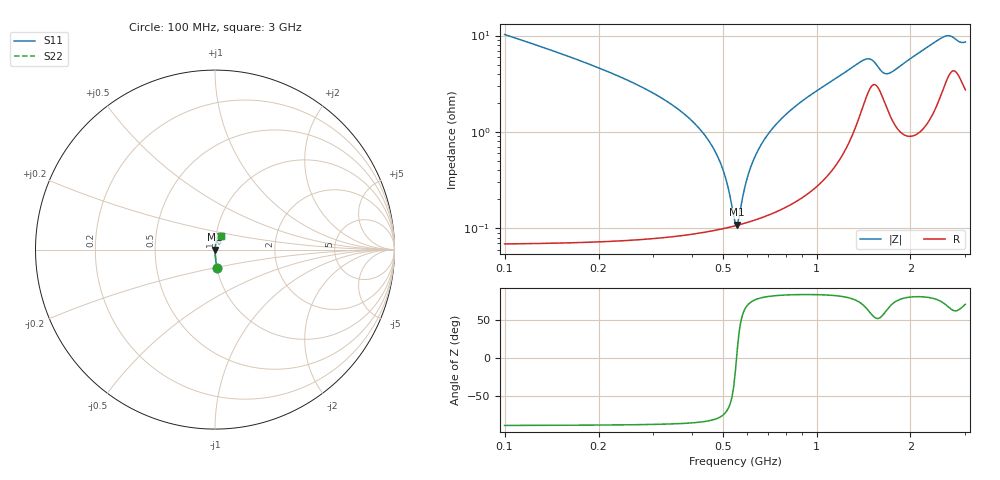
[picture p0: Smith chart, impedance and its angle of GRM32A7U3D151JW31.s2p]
!Murata Part Number: GRM32A7U3D151JW31
!These Parameters are Measured in Series Mode Connection
!Data Generated on Mar 30, 2021
!  o--ll--o
!Port1  Port2
!  o------o
!Operation Temp=25[degC], DC Bias Voltage=0[V]
!Freq. Start=100[MHz] Stop=3[GHz] 401[Steps]
# Hz S RI R 50
!Freq.(Hz) S11(Real) S11(Imag) S21(Real) S21(Imag) S12(Real) S12(Imag) S22(Real) S22(Imag)
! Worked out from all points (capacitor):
!   401 points, 100 MHz to 3 GHz, reference 50 ohm
!   read as one part in series: C = 150 pF near 114.5 MHz
!   lowest |Z| = 109 mohm at 556.8 MHz (marker M1)
!   series resonance near 554 MHz, so ESL is about 550 pH
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1e8  0.0111 -0.1015  0.9889 0.1015  0.9889 0.1015  0.0111 -0.1015
1.87e8  0.00324 -0.0502  0.9968 0.0502  0.9968 0.0502  0.00324 -0.0502
3.6825e8  0.0011 -0.0162  0.9989 0.0162  0.9989 0.0162  0.0011 -0.0162
4.335e8  0.000994 -0.00961  0.999 0.00961  0.999 0.00961  0.000994 -0.00961
4.915e8  0.000996 -0.00468  0.999 0.00468  0.999 0.00468  0.000996 -0.00468
5.1325e8  0.00101 -0.00299  0.999 0.00299  0.999 0.00299  0.00101 -0.00299
5.4225e8  0.00105 -0.00084  0.999 0.00084  0.999 0.00084  0.00105 -0.00084
5.5675e8  0.00107 0.000193  0.9989 -0.000193  0.9989 -0.000193  0.00107 0.000193
5.64e8  0.00108 0.000701  0.9989 -0.000701  0.9989 -0.000701  0.00108 0.000701
5.8575e8  0.00112 0.00219  0.9989 -0.00219  0.9989 -0.00219  0.00112 0.00219
6.075e8  0.00117 0.00364  0.9988 -0.00364  0.9988 -0.00364  0.00117 0.00364
6.4375e8  0.00127 0.00596  0.9987 -0.00596  0.9987 -0.00596  0.00127 0.00596
7.3075e8  0.00157 0.0112  0.9984 -0.0112  0.9984 -0.0112  0.00157 0.0112
8.685e8  0.00229 0.019  0.9977 -0.019  0.9977 -0.019  0.00229 0.019
1.0715e9  0.00427 0.0304  0.9957 -0.0304  0.9957 -0.0304  0.00427 0.0304
1.41225e9  0.021 0.0502  0.979 -0.0502  0.979 -0.0502  0.021 0.0502
1.48475e9  0.0298 0.0468  0.9702 -0.0468  0.9702 -0.0468  0.0298 0.0468
1.55e9  0.0311 0.038  0.9689 -0.038  0.9689 -0.038  0.0311 0.038
1.68775e9  0.018 0.0352  0.982 -0.0352  0.982 -0.0352  0.018 0.0352
2.03575e9  0.0124 0.0581  0.9876 -0.0581  0.9876 -0.0581  0.0124 0.0581
2.5215e9  0.0326 0.0864  0.9674 -0.0864  0.9674 -0.0864  0.0326 0.0864
3e9  0.0327 0.0767  0.9673 -0.0767  0.9673 -0.0767  0.0327 0.0767
